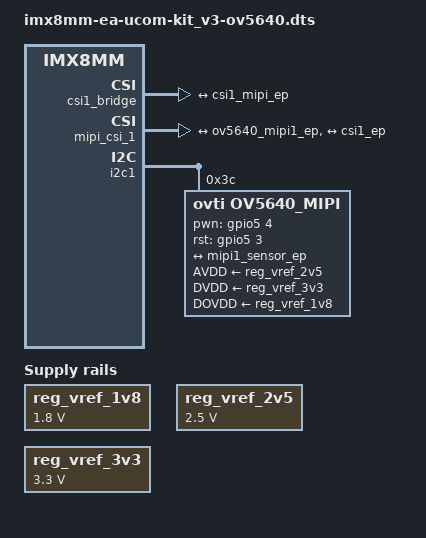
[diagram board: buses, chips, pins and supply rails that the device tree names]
/*
 * Copyright 2019 Embedded Artists AB
 *
 * The code contained herein is licensed under the GNU General Public
 * License. You may obtain a copy of the GNU General Public License
 * Version 2 or later at the following locations:
 *
 * http://www.opensource.org/licenses/gpl-license.html
 * http://www.gnu.org/copyleft/gpl.html
 */

/dts-v1/;
 
#include "imx8mm-ea-ucom-kit_v3.dts"

/ {

        regulators {
                compatible = "simple-bus";

		reg_vref_1v8: regulator-vref-1v8 {
			compatible = "regulator-fixed";
			regulator-name = "vref-1v8";
			regulator-min-microvolt = <1800000>;
			regulator-max-microvolt = <1800000>;
		};

		reg_vref_2v5: regulator-vref-2v5 {
			compatible = "regulator-fixed";
			regulator-name = "vref-2v5";
			regulator-min-microvolt = <2500000>;
			regulator-max-microvolt = <2500000>;
		};

		reg_vref_3v3: regulator-vref-3v3 {
			compatible = "regulator-fixed";
			regulator-name = "vref-3v3";
			regulator-min-microvolt = <3300000>;
			regulator-max-microvolt = <3300000>;
		};
	};
};

&csi1_bridge {
	fsl,mipi-mode;
	status = "okay";
	port {
		csi1_ep: endpoint {
			remote-endpoint = <&csi1_mipi_ep>;
		};
	};
};

&mipi_csi_1 {
	#address-cells = <1>;
	#size-cells = <0>;
	status = "okay";
	port {
		mipi1_sensor_ep: endpoint@1 {
			remote-endpoint = <&ov5640_mipi1_ep>;
			data-lanes = <2>;
			csis-hs-settle = <13>;
			csis-clk-settle = <2>;
			csis-wclk;

		};

		csi1_mipi_ep: endpoint@2 {
			remote-endpoint = <&csi1_ep>;
		};
	};
};


&i2c1 {
	ov5640_mipi: ov5640_mipi@3c {
		compatible = "ovti,ov5640_mipi";
		reg = <0x3c>;
		status = "okay";
		pinctrl-names = "default";
		pinctrl-0 = <&pinctrl_ov5640>;
		clocks = <&clk IMX8MM_CLK_DUMMY>;
		clock-names = "csi_mclk";
		csi_id = <0>;

		AVDD-supply = <&reg_vref_2v5>;
		DVDD-supply = <&reg_vref_3v3>;
		DOVDD-supply = <&reg_vref_1v8>;

		pwn-gpios = <&gpio5 4 GPIO_ACTIVE_HIGH>;
		rst-gpios = <&gpio5 3 GPIO_ACTIVE_HIGH>;
		mclk = <12000000>;
		mclk_source = <0>;
		port {
			ov5640_mipi1_ep: endpoint {
				remote-endpoint = <&mipi1_sensor_ep>;
			};
		};
	};

};

&iomuxc {

        imx8mmea-kit {

                pinctrl_ov5640: ov5640grp {
                        fsl,pins = <
				MX8MM_IOMUXC_SPDIF_TX_GPIO5_IO3		0x19
				MX8MM_IOMUXC_SPDIF_RX_GPIO5_IO4		0x19
                        >;
                };
	};
};
